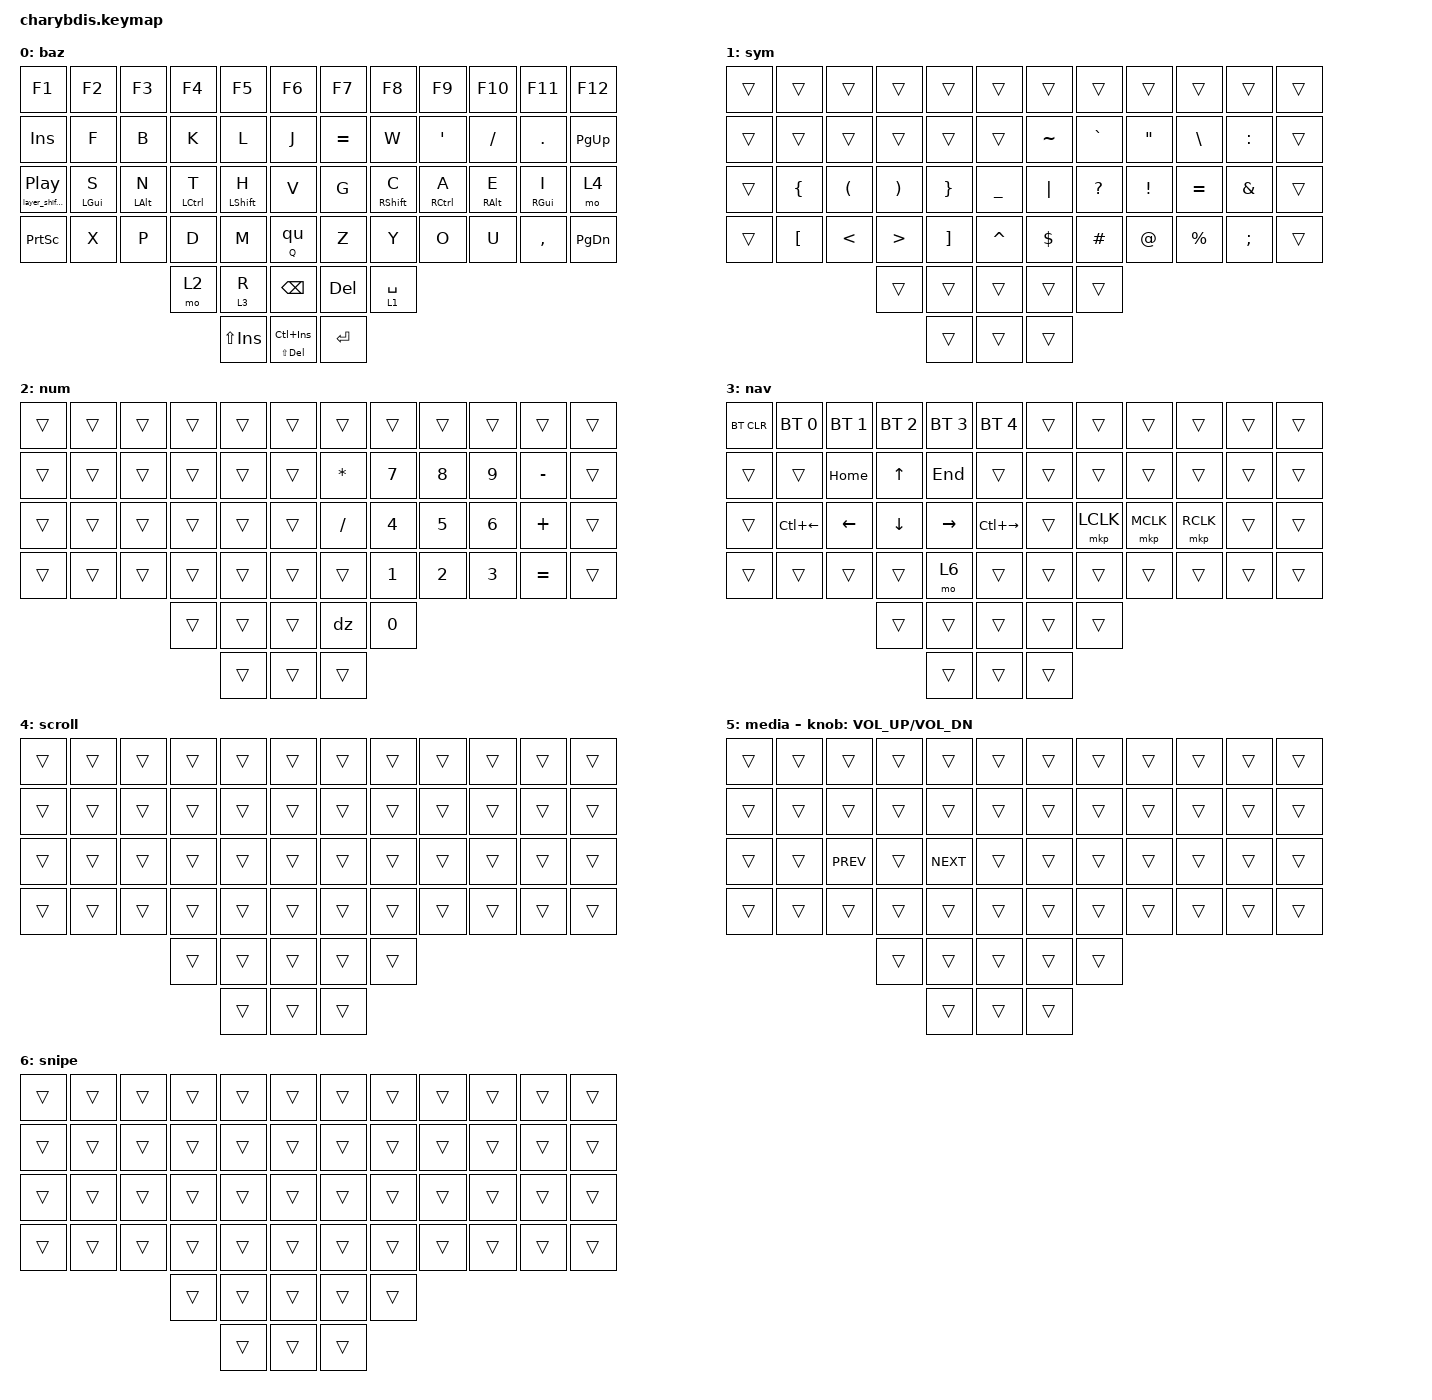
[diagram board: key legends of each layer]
/*
 * SnthX
 * derived from https://www.reddit.com/r/KeyboardLayouts/comments/18jefux/snth/
 */

#include <behaviors.dtsi>
#include <dt-bindings/zmk/bt.h>
#include <dt-bindings/zmk/keys.h>
#include <dt-bindings/zmk/pointing.h>

/ {
    macros {
        qu: qu {
            compatible = "zmk,behavior-macro";
            #binding-cells = <0>;
            bindings = <&kp Q &kp U>;
            label = "QU";
        };

        ing: ing {
            compatible = "zmk,behavior-macro";
            #binding-cells = <0>;
            bindings = <&kp I &kp N &kp G>;
            label = "ING";
        };

        eu: eu {
            compatible = "zmk,behavior-macro";
            #binding-cells = <0>;
            bindings = <&kp E &kp U>;
            label = "EU";
        };

        // Macro to activate layer and hold Ctrl+Alt

        layer_shiftalt: layer_with_ctrlalt {
            compatible = "zmk,behavior-macro";
            #binding-cells = <0>;
            bindings =
                <&macro_press>,
                <&mo 5>,
                <&macro_press>,
                <&kp LS(LALT)>,
                <&macro_pause_for_release>,
                <&macro_release>,
                <&kp LS(LALT)>,
                <&macro_release>,
                <&mo 5>;

            label = "LAYER_CTRLALT";
        };

        dz: dz {
            compatible = "zmk,behavior-macro";
            #binding-cells = <0>;
            bindings = <&kp N0 &kp N0>;
            label = "DZ";
        };
    };

    behaviors {
        hm: homerow_mods {
            compatible = "zmk,behavior-hold-tap";
            label = "HM";
            bindings = <&kp>, <&kp>;

            #binding-cells = <2>;
            tapping-term-ms = <280>;
            quick-tap-ms = <250>;
            require-prior-idle-ms = <150>;
            flavor = "tap-preferred";
        };

        tmo: thumb_momentary {
            compatible = "zmk,behavior-hold-tap";
            label = "TMO";
            bindings = <&mo>, <&kp>;

            #binding-cells = <2>;
            tapping-term-ms = <200>;
            quick-tap-ms = <175>;
            require-prior-idle-ms = <150>;
            flavor = "tap-preferred";
        };

        bspc_del: backspace_delete {
            compatible = "zmk,behavior-hold-tap";
            label = "BSPC_DEL";
            bindings = <&kp>, <&kp>;

            #binding-cells = <2>;
            tapping-term-ms = <200>;
            quick-tap-ms = <175>;
            flavor = "tap-preferred";
        };

        lingerq: linger_q {
            compatible = "zmk,behavior-hold-tap";
            label = "LINGERQ";
            bindings = <&kp>, <&qu>;

            #binding-cells = <2>;
            tapping-term-ms = <100>;
            flavor = "tap-preferred";
        };

        playvol: playvol {
            compatible = "zmk,behavior-hold-tap";
            label = "PLAYVOL";
            bindings = <&layer_shiftalt>, <&kp>;

            #binding-cells = <2>;
            flavor = "tap-preferred";
            tapping-term-ms = <250>;
        };

        hmb: holdmouse {
            compatible = "zmk,behavior-hold-tap";
            label = "HMB";
            bindings = <&mkp>, <&mkp>;

            #binding-cells = <2>;
            tapping-term-ms = <180>;
            flavor = "hold-preferred";
        };
    };

    combos {
        compatible = "zmk,combos";

        esc {
            bindings = <&kp ESC>;
            key-positions = <25 28>;
            layers = <0>;
            timeout-ms = <40>;
            require-prior-idle-ms = <250>;
        };

        tab {
            bindings = <&kp TAB>;
            key-positions = <25 26>;
            layers = <0>;
            timeout-ms = <40>;
            require-prior-idle-ms = <250>;
        };

        caps {
            bindings = <&caps_word>;
            key-positions = <28 31>;
            layers = <0>;
            timeout-ms = <40>;
            require-prior-idle-ms = <250>;
        };

        ing {
            bindings = <&ing>;
            key-positions = <33 34>;
            timeout-ms = <40>;
            require-prior-idle-ms = <250>;
            layers = <0>;
        };

        eu {
            bindings = <&eu>;
            key-positions = <32 33>;
            timeout-ms = <40>;
            require-prior-idle-ms = <250>;
            layers = <0>;
        };

        // Example: Press F and B keys together to activate
    };

    keymap {
        compatible = "zmk,keymap";

        baz {
            bindings = <
&kp F1                   &kp F2      &kp F3      &kp F4       &kp F5        &kp F6                 &kp F7     &kp F8        &kp F9       &kp F10     &kp F11     &kp F12
&kp INS                  &kp F       &kp B       &kp K        &kp L         &kp J                  &kp EQUAL  &kp W         &kp SQT      &kp SLASH   &kp DOT     &kp PG_UP
&playvol 0 C_PLAY_PAUSE  &hm LGUI S  &hm LALT N  &hm LCTRL T  &hm LSHIFT H  &kp V                  &kp G      &hm RSHFT C   &hm RCTRL A  &hm RALT E  &hm RGUI I  &mo 4
&kp PRINTSCREEN          &kp X       &kp P       &kp D        &kp M         &lingerq Q 0           &kp Z      &kp Y         &kp O        &kp U       &kp COMMA   &kp PG_DN
                                                 &mo 2        &tmo 3 R      &kp BSPC               &kp DEL    &tmo 1 SPACE
                                                              &kp LS(INS)   &mt LS(DEL) LC(INS)    &kp RET
            >;
        };

        sym {
            bindings = <
&trans  &trans            &trans                &trans                 &trans             &trans            &trans     &trans     &trans             &trans     &trans     &trans
&trans  &trans            &trans                &trans                 &trans             &trans            &kp TILDE  &kp GRAVE  &kp DOUBLE_QUOTES  &kp BSLH   &kp COLON  &trans
&trans  &kp LEFT_BRACE    &kp LEFT_PARENTHESIS  &kp RIGHT_PARENTHESIS  &kp RIGHT_BRACE    &kp UNDERSCORE    &kp PIPE   &kp QMARK  &kp EXCL           &kp EQUAL  &kp AMPS   &trans
&trans  &kp LEFT_BRACKET  &kp LESS_THAN         &kp GREATER_THAN       &kp RIGHT_BRACKET  &kp CARET         &kp DLLR   &kp HASH   &kp AT             &kp PRCNT  &kp SEMI   &trans
                                                &trans                 &trans             &trans            &trans     &trans
                                                                       &trans             &trans            &trans
            >;
        };

        num {
            bindings = <
&trans  &trans  &trans  &trans  &trans  &trans    &trans     &trans  &trans  &trans  &trans     &trans
&trans  &trans  &trans  &trans  &trans  &trans    &kp STAR   &kp N7  &kp N8  &kp N9  &kp MINUS  &trans
&trans  &trans  &trans  &trans  &trans  &trans    &kp SLASH  &kp N4  &kp N5  &kp N6  &kp PLUS   &trans
&trans  &trans  &trans  &trans  &trans  &trans    &trans     &kp N1  &kp N2  &kp N3  &kp EQUAL  &trans
                        &trans  &trans  &trans    &dz        &kp N0
                                &trans  &trans    &trans
            >;
        };

        nav {
            bindings = <
&bt BT_CLR  &bt BT_SEL 0  &bt BT_SEL 1  &bt BT_SEL 2  &bt BT_SEL 3  &bt BT_SEL 4     &trans  &trans     &trans     &trans     &trans  &trans
&trans      &trans        &kp HOME      &kp UP        &kp END       &trans           &trans  &trans     &trans     &trans     &trans  &trans
&trans      &kp LC(LEFT)  &kp LEFT      &kp DOWN      &kp RIGHT     &kp LC(RIGHT)    &trans  &mkp LCLK  &mkp MCLK  &mkp RCLK  &trans  &trans
&trans      &trans        &trans        &trans        &mo 6         &trans           &trans  &trans     &trans     &trans     &trans  &trans
                                        &trans        &trans        &trans           &trans  &trans
                                                      &trans        &trans           &trans
            >;
        };

        scroll {
            bindings = <
&trans  &trans  &trans  &trans  &trans  &trans    &trans  &trans  &trans  &trans  &trans  &trans
&trans  &trans  &trans  &trans  &trans  &trans    &trans  &trans  &trans  &trans  &trans  &trans
&trans  &trans  &trans  &trans  &trans  &trans    &trans  &trans  &trans  &trans  &trans  &trans
&trans  &trans  &trans  &trans  &trans  &trans    &trans  &trans  &trans  &trans  &trans  &trans
                        &trans  &trans  &trans    &trans  &trans
                                &trans  &trans    &trans
            >;
        };

        media {
            bindings = <
&trans  &trans  &trans      &trans  &trans      &trans    &trans  &trans  &trans  &trans  &trans  &trans
&trans  &trans  &trans      &trans  &trans      &trans    &trans  &trans  &trans  &trans  &trans  &trans
&trans  &trans  &kp C_PREV  &trans  &kp C_NEXT  &trans    &trans  &trans  &trans  &trans  &trans  &trans
&trans  &trans  &trans      &trans  &trans      &trans    &trans  &trans  &trans  &trans  &trans  &trans
                            &trans  &trans      &trans    &trans  &trans
                                    &trans      &trans    &trans
            >;

            sensor-bindings = <&inc_dec_kp C_VOL_UP C_VOL_DN>;
        };

        snipe {
            bindings = <
&trans  &trans  &trans  &trans  &trans  &trans    &trans  &trans  &trans  &trans  &trans  &trans
&trans  &trans  &trans  &trans  &trans  &trans    &trans  &trans  &trans  &trans  &trans  &trans
&trans  &trans  &trans  &trans  &trans  &trans    &trans  &trans  &trans  &trans  &trans  &trans
&trans  &trans  &trans  &trans  &trans  &trans    &trans  &trans  &trans  &trans  &trans  &trans
                        &trans  &trans  &trans    &trans  &trans
                                &trans  &trans    &trans
            >;
        };
    };
};
